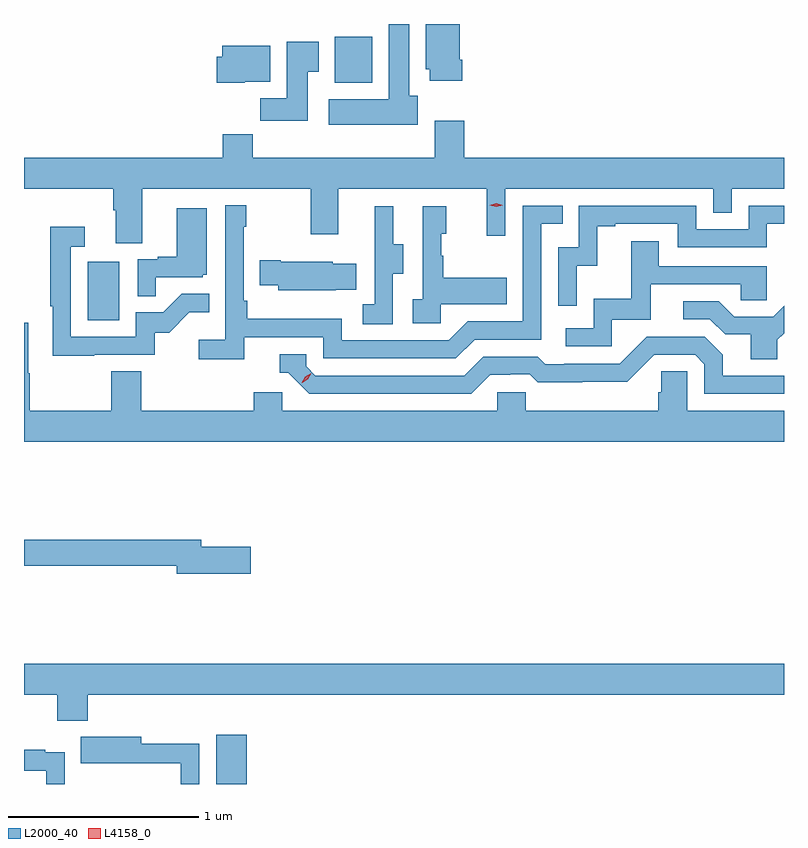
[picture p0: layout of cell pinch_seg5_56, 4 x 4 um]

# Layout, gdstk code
import gdstk
lib = gdstk.Library(unit=1e-6, precision=1e-09)
def R(c, l, rs):  # rectangles x0, y0, x1, y1
    for r in rs: c.add(gdstk.rectangle(r[:2], r[2:], *l))
def P(c, l, *ps):  # polygons
    for p in ps: c.add(gdstk.Polygon(p, *l))
L2000_40 = (2000, 40)
L4158_0 = (4158, 0)

pinch_seg5_56 = lib.new_cell('pinch_seg5_56')
R(pinch_seg5_56, L2000_40, [(1069.979,901.579,1070.14,901.837), (1069.304,904.02,1069.468,904.327), (1070.603,905.27,1070.8,905.512)])
P(pinch_seg5_56, L2000_40, [(1071.275,905.392),(1071.262,905.392),(1071.262,905.579),(1071.083,905.579),(1071.083,905.34),(1071.104,905.34),(1071.104,905.28),(1071.275,905.28)],
  [(1071.04,905.202),(1070.995,905.202),(1070.995,905.579),(1070.888,905.579),(1070.888,905.182),(1070.571,905.182),(1070.571,905.048),(1071.04,905.048)],
  [(1070.461,905.329),(1070.518,905.329),(1070.518,905.485),(1070.351,905.485),(1070.351,905.188),(1070.212,905.188),(1070.212,905.07),(1070.461,905.07)],
  [(1070.13,905.276),(1070.263,905.276),(1070.263,905.464),(1070.012,905.464),(1070.012,905.406),(1069.982,905.406),(1069.982,905.27),(1070.13,905.27)],
  [(1069.591,904.712),(1070.476,904.712),(1070.476,904.473),(1070.623,904.473),(1070.623,904.712),(1071.404,904.712),(1071.404,904.464),(1071.501,904.464),(1071.501,904.712),(1072.596,904.712),(1072.596,904.585),(1072.692,904.585),(1072.692,904.712),(1072.968,904.712),(1072.968,904.876),(1071.284,904.876),(1071.284,905.071),(1071.131,905.071),(1071.131,904.876),(1070.171,904.876),(1070.171,905),(1070.015,905),(1070.015,904.876),(1068.968,904.876),(1068.968,904.712),(1069.439,904.712),(1069.439,904.6),(1069.451,904.6),(1069.451,904.426),(1069.591,904.426)],
  [(1070.126,903.93),(1070.544,903.93),(1070.544,903.819),(1071.241,903.819),(1071.34,903.918),(1071.69,903.918),(1071.69,904.527),(1071.803,904.527),(1071.803,904.623),(1071.594,904.623),(1071.594,904.014),(1071.303,904.014),(1071.204,903.915),(1070.64,903.915),(1070.64,904.027),(1070.144,904.027),(1070.144,904.123),(1070.124,904.123),(1070.124,904.511),(1070.137,904.511),(1070.137,904.624),(1070.028,904.624),(1070.028,903.916),(1069.887,903.916),(1069.887,903.814),(1070.126,903.814)],
  [(1071.876,904.307),(1071.986,904.307),(1071.986,904.515),(1072.081,904.515),(1072.081,904.527),(1072.41,904.527),(1072.41,904.404),(1072.878,904.404),(1072.878,904.527),(1072.968,904.527),(1072.968,904.623),(1072.782,904.623),(1072.782,904.5),(1072.506,904.5),(1072.506,904.623),(1071.888,904.623),(1071.888,904.404),(1071.78,904.404),(1071.78,904.095),(1071.876,904.095)],
  [(1071.162,904.103),(1071.509,904.103),(1071.509,904.243),(1071.175,904.243),(1071.175,904.358),(1071.165,904.358),(1071.165,904.476),(1071.19,904.476),(1071.19,904.621),(1071.066,904.621),(1071.066,904.13),(1071.015,904.13),(1071.015,904.005),(1071.162,904.005)],
  [(1070.91,904.264),(1070.965,904.264),(1070.965,904.419),(1070.911,904.419),(1070.911,904.621),(1070.813,904.621),(1070.813,904.407),(1070.814,904.407),(1070.814,904.103),(1070.751,904.103),(1070.751,904),(1070.91,904)],
  [(1069.661,904.245),(1069.908,904.245),(1069.908,904.26),(1069.93,904.26),(1069.93,904.609),(1069.772,904.609),(1069.772,904.354),(1069.673,904.354),(1069.673,904.341),(1069.566,904.341),(1069.566,904.147),(1069.661,904.147)],
  [(1069.337,903.837),(1069.656,903.837),(1069.656,903.954),(1069.732,903.954),(1069.839,904.061),(1069.943,904.061),(1069.943,904.16),(1069.799,904.16),(1069.701,904.062),(1069.557,904.062),(1069.557,903.933),(1069.215,903.933),(1069.215,904.407),(1069.288,904.407),(1069.288,904.513),(1069.107,904.513),(1069.107,904.093),(1069.119,904.093),(1069.119,903.832),(1069.337,903.832)],
  [(1072.062,904.023),(1072.267,904.023),(1072.267,904.209),(1072.741,904.209),(1072.741,904.125),(1072.878,904.125),(1072.878,904.305),(1072.309,904.305),(1072.309,904.435),(1072.165,904.435),(1072.165,904.132),(1071.966,904.132),(1071.966,903.978),(1071.819,903.978),(1071.819,903.882),(1072.062,903.882)],
  [(1070.609,904.181),(1070.717,904.181),(1070.717,904.318),(1070.592,904.318),(1070.592,904.327),(1070.32,904.327),(1070.32,904.335),(1070.209,904.335),(1070.209,904.205),(1070.307,904.205),(1070.307,904.178),(1070.609,904.178)],
  [(1072.933,903.916),(1072.968,903.951),(1072.968,904.095),(1072.911,904.038),(1072.705,904.038),(1072.624,904.119),(1072.437,904.119),(1072.437,904.026),(1072.578,904.026),(1072.658,903.946),(1072.793,903.946),(1072.793,903.814),(1072.933,903.814)],
  [(1072.968,903.544),(1072.458,903.544),(1072.458,903.752),(1072.321,903.752),(1072.321,903.642),(1072.307,903.642),(1072.307,903.544),(1071.609,903.544),(1071.609,903.642),(1071.459,903.642),(1071.459,903.544),(1070.328,903.544),(1070.328,903.642),(1070.177,903.642),(1070.177,903.544),(1069.586,903.544),(1069.586,903.752),(1069.426,903.752),(1069.426,903.544),(1068.999,903.544),(1068.999,903.74),(1068.991,903.74),(1068.991,904.006),(1068.968,904.006),(1068.968,903.38),(1072.968,903.38)],
  [(1071.421,903.732),(1071.528,903.732),(1071.528,903.735),(1071.631,903.735),(1071.673,903.693),(1071.906,903.693),(1071.906,903.695),(1072.142,903.695),(1072.284,903.837),(1072.5,903.837),(1072.548,903.789),(1072.548,903.633),(1072.968,903.633),(1072.968,903.729),(1072.645,903.729),(1072.645,903.839),(1072.551,903.933),(1072.245,903.933),(1072.104,903.792),(1071.811,903.792),(1071.811,903.789),(1071.712,903.789),(1071.673,903.828),(1071.384,903.828),(1071.285,903.729),(1070.502,903.729),(1070.454,903.777),(1070.454,903.84),(1070.315,903.84),(1070.315,903.744),(1070.358,903.744),(1070.469,903.633),(1071.322,903.633)],
  [(1070.161,902.828),(1069.9,902.828),(1069.9,902.864),(1068.968,902.864),(1068.968,902.728),(1069.772,902.728),(1069.772,902.686),(1070.161,902.686)],
  [(1069.304,902.048),(1072.968,902.048),(1072.968,902.212),(1068.968,902.212),(1068.968,902.048),(1069.144,902.048),(1069.144,901.913),(1069.304,901.913)],
  [(1069.89,901.79),(1069.585,901.79),(1069.585,901.828),(1069.267,901.828),(1069.267,901.688),(1069.481,901.688),(1069.481,901.689),(1069.794,901.689),(1069.794,901.579),(1069.89,901.579)],
  [(1069.182,901.747),(1069.079,901.747),(1069.079,901.759),(1068.968,901.759),(1068.968,901.65),(1069.086,901.65),(1069.086,901.579),(1069.182,901.579)])
P(pinch_seg5_56, L4158_0, [(1070.431,903.691),(1070.431,903.691),(1070.448,903.723),(1070.479,903.742),(1070.479,903.742),(1070.479,903.742),(1070.462,903.71),(1070.432,903.691)],
  [(1071.454,904.616),(1071.418,904.626),(1071.418,904.626),(1071.418,904.626),(1071.454,904.636),(1071.489,904.626),(1071.489,904.626),(1071.489,904.626)])

lib.write_gds('pinch_seg5_56.gds')
